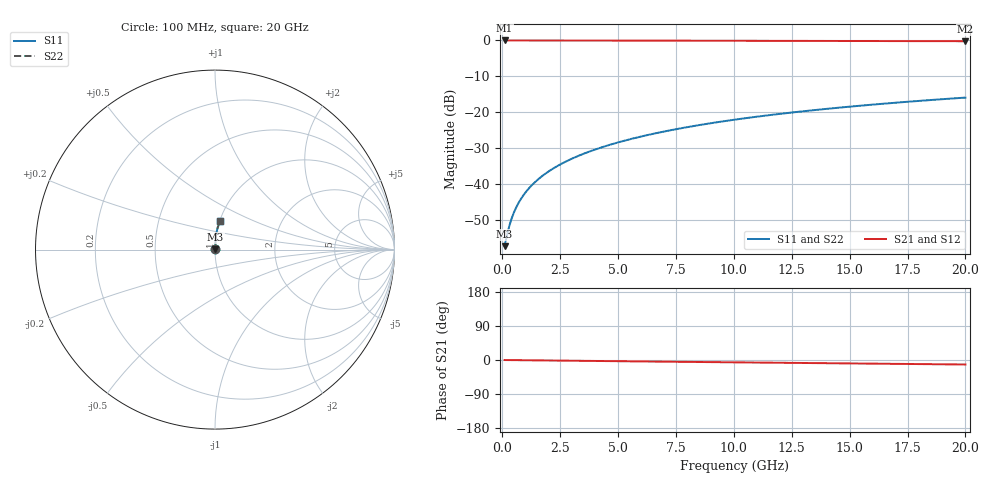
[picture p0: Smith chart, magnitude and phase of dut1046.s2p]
! Touchstone file exported from HFSS 2024.1.0
!  File:  C:/UserFiles/LocalFiles/RDL_TSV_Batchsim/temp_RDL_top_1046_1780044255.aedt
!  Generated:  04:46:45 PM May 29, 2026
!  Design:  RDL_top
!  Project:  temp_RDL_top_1046_1780044255
!  Setup:  Setup1
!  Solution:  Sweep
! Variables:
!  dtsv = 10.80580581um
!  hbump = 3um
!  htsv = 63.33um
!  ldown = 100um
!  lrdl = 100.86um
!  p = 40
!  p1 = 57.71um
!  rhole = 1um
!  t = 450um
!  tdown = 3.915915916um
!  trdl = 2.35um
!  wdown = 15.38538539um
!  wrdl = 19.38um
# GHz S MA R 50.000000
! Terminal data exported
! Port[1] = Box2_T1
! Port[2] = Box2_T2
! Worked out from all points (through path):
!   200 points, 100 MHz to 20 GHz, reference 50 ohm
!   highest |S21| = -0.01 dB at 100 MHz (marker M1); lowest = -0.2 dB at 20 GHz (marker M2)
!   group delay of S21, straight-line fit = 1.64 ps
!   lowest |S11| = -57.2 dB at 100 MHz (marker M3), VSWR 1.00, Z = 50.1 + j0.0787 ohm
!   |S11| at or under -10 dB: start of sweep to end of sweep
!   |S22| runs from -57.2 to -15.9 dB; largest |S21 - S12| = 4e-15
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0.1  0.001381 34.7  0.9989 -0.1  0.9989 -0.1  0.001381 34.7
! Gamma 0 0 0 0
! Port Impedance 50 0 50 0
0.2  0.001944 53.6  0.9988 -0.1  0.9988 -0.1  0.001944 53.6
0.3  0.002617 63.3  0.9988 -0.2  0.9988 -0.2  0.002617 63.3
0.4  0.003326 68.8  0.9988 -0.3  0.9988 -0.3  0.003326 68.8
0.5  0.004048 72.4  0.9987 -0.3  0.9987 -0.3  0.004048 72.4
0.6  0.004774 74.8  0.9987 -0.4  0.9987 -0.4  0.004774 74.8
0.8  0.006232 78.1  0.9986 -0.5  0.9986 -0.5  0.006232 78.1
1.1  0.008428 81.0  0.9985 -0.7  0.9985 -0.7  0.008428 81.0
1.5  0.01138 83.3  0.9983 -1.0  0.9983 -1.0  0.01138 83.3
1.8  0.01361 84.4  0.9981 -1.2  0.9981 -1.2  0.01361 84.4
2.1  0.01585 85.2  0.998 -1.4  0.998 -1.4  0.01585 85.2
2.7  0.02038 86.2  0.9976 -1.8  0.9976 -1.8  0.02038 86.2
3.5  0.0265 87.1  0.9969 -2.3  0.9969 -2.3  0.0265 87.1
4.2  0.03194 87.4  0.9963 -2.7  0.9963 -2.7  0.03194 87.4
5  0.03823 87.6  0.9955 -3.2  0.9955 -3.2  0.03823 87.7
5.9  0.0454 87.7  0.9945 -3.7  0.9945 -3.7  0.0454 87.7
6.8  0.05266 87.5  0.9934 -4.3  0.9934 -4.3  0.05266 87.5
8.3  0.0649 87.0  0.9915 -5.2  0.9915 -5.2  0.0649 87.0
10.1  0.07972 86.2  0.9892 -6.2  0.9892 -6.2  0.07972 86.2
13.4  0.1069 84.3  0.9848 -8.2  0.9848 -8.2  0.1069 84.3
16.7  0.1339 82.2  0.98 -10.0  0.98 -10.0  0.1339 82.2
20  0.1605 80.2  0.9749 -11.9  0.9749 -11.9  0.1605 80.2
